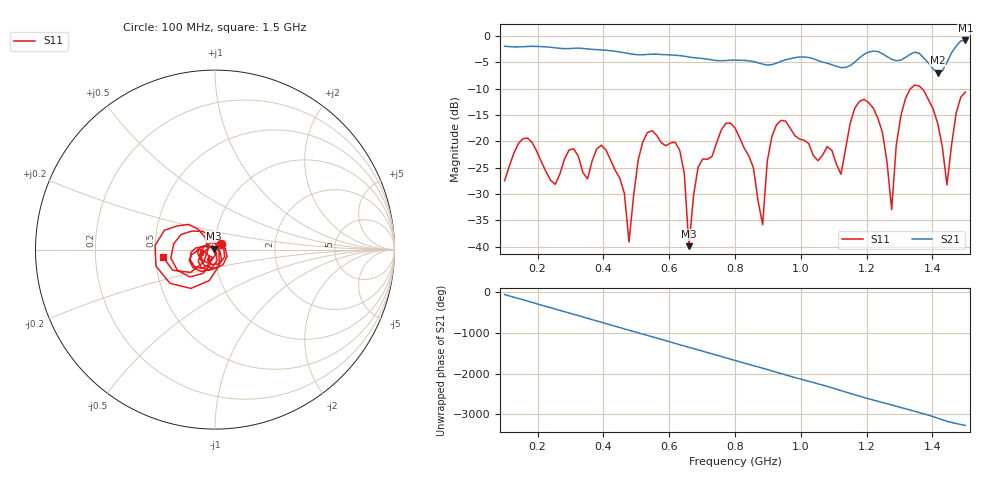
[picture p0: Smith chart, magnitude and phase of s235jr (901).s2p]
! NanoVNA-App
! Date: 2025-09-25 15:11:11
! Start: 100MHz Stop: 1,5GHz Points: 101
! S-Parameter data: F S11 S21 S12 S22
# Hz S RI R 50
!  Frequency  S11_Real  S11_Imag  S21_Real  S21_Imag  S12_Real  S12_Imag  S22_Real  S22_Imag
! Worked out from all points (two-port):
!   101 points, 100 MHz to 1.5 GHz, reference 50 ohm
!   highest |S21| = -0.87 dB at 1.5 GHz (marker M1); lowest = -7.0 dB at 1.416 GHz (marker M2)
!   |S21| within 3 dB of the highest: start of sweep to 647.4 MHz; 1.184 GHz to 1.261 GHz (76.26 MHz wide, 6.24 % of centre) (the widest 2 of 4)
!   lowest |S11| = -39.9 dB at 660 MHz (marker M3), VSWR 1.02, Z = 49.2 + j0.586 ohm
!   |S11| at or under -10 dB: start of sweep to 1.334 GHz; 1.368 GHz to end of sweep
!   S12 and S22 are empty: the file has one direction only
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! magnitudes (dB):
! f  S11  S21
! 100 MHz  -27.5  -2.0
! 170 MHz  -19.4  -2.0
! 338 MHz  -25.9  -2.4
! 408 MHz  -21.6  -2.7
! 478 MHz  -39.1  -3.4
! 520 MHz  -20.1  -3.6
! 576 MHz  -20.3  -3.5
! 632 MHz  -21.7  -3.7
! 660 MHz  -39.9  -4.0
! 688 MHz  -24.9  -4.2
! 800 MHz  -17.5  -4.6
! 884 MHz  -35.8  -5.4
! 926 MHz  -16.9  -5.2
! 1.038 GHz  -22.7  -4.3
! 1.122 GHz  -26.2  -6.0
! 1.192 GHz  -12.0  -3.5
! 1.248 GHz  -18.3  -3.4
! 1.276 GHz  -32.9  -4.4
! 1.332 GHz  -10.1  -3.5
! 1.416 GHz  -16.6  -7.0
! 1.444 GHz  -28.3  -5.0
! 1.5 GHz  -10.7  -0.9
